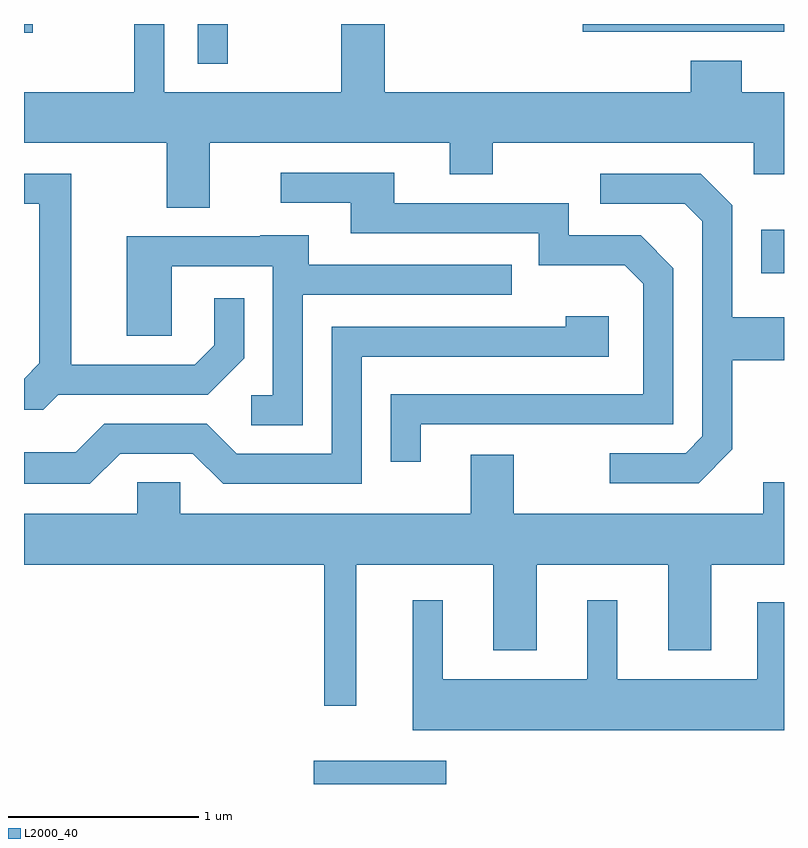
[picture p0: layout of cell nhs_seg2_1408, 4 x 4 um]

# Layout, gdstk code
import gdstk
lib = gdstk.Library(unit=1e-6, precision=1e-09)
def R(c, l, rs):  # rectangles x0, y0, x1, y1
    for r in rs: c.add(gdstk.rectangle(r[:2], r[2:], *l))
def P(c, l, *ps):  # polygons
    for p in ps: c.add(gdstk.Polygon(p, *l))
L2000_40 = (2000, 40)

nhs_seg2_1408 = lib.new_cell('nhs_seg2_1408')
R(nhs_seg2_1408, L2000_40, [(227.136,1073.802,227.834,1073.924), (229.491,1076.491,229.611,1076.719), (226.526,1077.593,226.684,1077.802), (225.611,1077.756,225.658,1077.802), (228.551,1077.761,229.611,1077.802)])
P(nhs_seg2_1408, L2000_40, [(226.589,1077.176),(227.851,1077.176),(227.851,1077.011),(228.079,1077.011),(228.079,1077.176),(229.451,1077.176),(229.451,1077.011),(229.611,1077.011),(229.611,1077.444),(229.389,1077.444),(229.389,1077.609),(229.121,1077.609),(229.121,1077.444),(227.509,1077.444),(227.509,1077.802),(227.281,1077.802),(227.281,1077.444),(226.349,1077.444),(226.349,1077.802),(226.191,1077.802),(226.191,1077.444),(225.611,1077.444),(225.611,1077.176),(226.361,1077.176),(226.361,1076.836),(226.589,1076.836)],
  [(227.699,1075.696),(229.029,1075.696),(229.029,1076.517),(228.857,1076.689),(228.479,1076.689),(228.479,1076.859),(227.559,1076.859),(227.559,1077.019),(226.963,1077.019),(226.963,1076.861),(227.331,1076.861),(227.331,1076.701),(228.321,1076.701),(228.321,1076.531),(228.774,1076.531),(228.871,1076.434),(228.871,1075.854),(227.541,1075.854),(227.541,1075.498),(227.699,1075.498)],
  [(225.792,1075.851),(226.577,1075.851),(226.769,1076.044),(226.769,1076.358),(226.611,1076.358),(226.611,1076.112),(226.509,1076.009),(225.859,1076.009),(225.859,1077.014),(225.611,1077.014),(225.611,1076.856),(225.691,1076.856),(225.691,1076.017),(225.611,1075.936),(225.611,1075.771),(225.712,1075.771)],
  [(229.339,1075.564),(229.339,1076.031),(229.611,1076.031),(229.611,1076.259),(229.339,1076.259),(229.339,1076.847),(229.172,1077.014),(228.643,1077.014),(228.643,1076.856),(229.089,1076.856),(229.181,1076.764),(229.181,1075.632),(229.094,1075.544),(228.693,1075.544),(228.693,1075.386),(229.162,1075.386)],
  [(227.079,1076.376),(228.178,1076.376),(228.178,1076.534),(227.109,1076.534),(227.109,1076.689),(226.855,1076.689),(226.855,1076.684),(226.151,1076.684),(226.151,1076.161),(226.389,1076.161),(226.389,1076.526),(226.921,1076.526),(226.921,1075.849),(226.808,1075.849),(226.808,1075.691),(227.079,1075.691)],
  [(226.117,1075.541),(226.499,1075.541),(226.659,1075.381),(227.389,1075.381),(227.389,1076.051),(228.689,1076.051),(228.689,1076.264),(228.461,1076.264),(228.461,1076.209),(227.231,1076.209),(227.231,1075.539),(226.732,1075.539),(226.572,1075.699),(226.034,1075.699),(225.884,1075.549),(225.611,1075.549),(225.611,1075.381),(225.957,1075.381)],
  [(227.359,1074.956),(228.081,1074.956),(228.081,1074.506),(228.309,1074.506),(228.309,1074.956),(229.001,1074.956),(229.001,1074.506),(229.229,1074.506),(229.229,1074.956),(229.611,1074.956),(229.611,1075.389),(229.501,1075.389),(229.501,1075.224),(228.189,1075.224),(228.189,1075.534),(227.961,1075.534),(227.961,1075.224),(226.434,1075.224),(226.434,1075.389),(226.206,1075.389),(226.206,1075.224),(225.611,1075.224),(225.611,1074.956),(227.191,1074.956),(227.191,1074.213),(227.359,1074.213)],
  [(229.611,1074.759),(229.471,1074.759),(229.471,1074.354),(228.734,1074.354),(228.734,1074.768),(228.576,1074.768),(228.576,1074.354),(227.814,1074.354),(227.814,1074.768),(227.656,1074.768),(227.656,1074.086),(229.611,1074.086)])

lib.write_gds('nhs_seg2_1408.gds')
